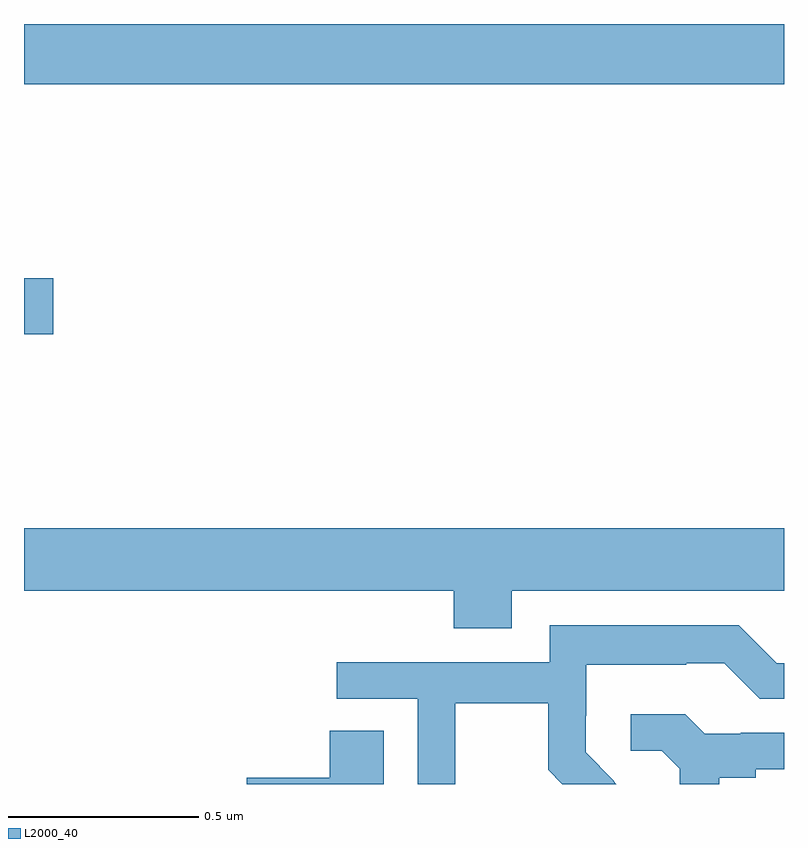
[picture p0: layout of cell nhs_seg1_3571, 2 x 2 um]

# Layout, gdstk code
import gdstk
lib = gdstk.Library(unit=1e-6, precision=1e-09)
def R(c, l, rs):  # rectangles x0, y0, x1, y1
    for r in rs: c.add(gdstk.rectangle(r[:2], r[2:], *l))
def P(c, l, *ps):  # polygons
    for p in ps: c.add(gdstk.Polygon(p, *l))
L2000_40 = (2000, 40)

nhs_seg1_3571 = lib.new_cell('nhs_seg1_3571')
R(nhs_seg1_3571, L2000_40, [(155,576.383,155.077,576.53), (155,577.04,157,577.199)])
P(nhs_seg1_3571, L2000_40, [(156.283,575.708),(157,575.708),(157,575.872),(155,575.872),(155,575.708),(156.131,575.708),(156.131,575.609),(156.283,575.609)],
  [(156.135,575.412),(156.379,575.412),(156.379,575.237),(156.417,575.199),(156.559,575.199),(156.551,575.207),(156.552,575.208),(156.478,575.282),(156.478,575.379),(156.48,575.379),(156.48,575.513),(156.743,575.513),(156.743,575.517),(156.843,575.517),(156.936,575.424),(157,575.424),(157,575.517),(156.981,575.517),(156.881,575.617),(156.384,575.617),(156.384,575.52),(155.823,575.52),(155.823,575.424),(156.036,575.424),(156.036,575.199),(156.135,575.199)],
  [(156.829,575.216),(156.925,575.216),(156.925,575.238),(157,575.238),(157,575.334),(156.886,575.334),(156.886,575.331),(156.792,575.331),(156.74,575.383),(156.597,575.383),(156.597,575.286),(156.678,575.286),(156.725,575.239),(156.725,575.199),(156.829,575.199)],
  [(155.947,575.339),(155.804,575.339),(155.804,575.216),(155.586,575.216),(155.586,575.199),(155.947,575.199)])

lib.write_gds('nhs_seg1_3571.gds')
